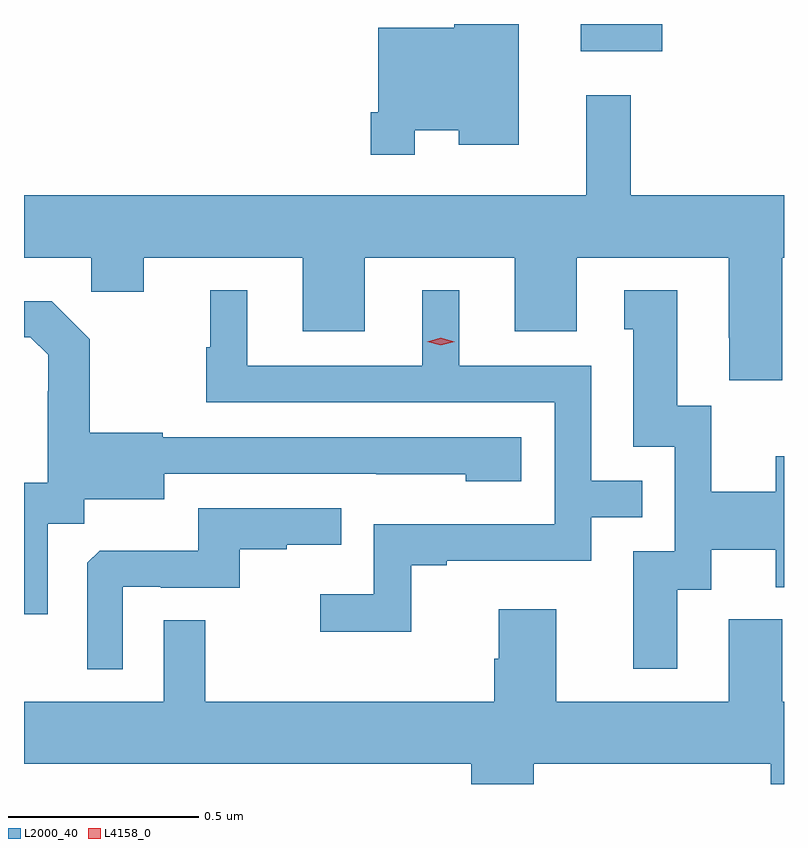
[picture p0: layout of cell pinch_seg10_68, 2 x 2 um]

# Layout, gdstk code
import gdstk
lib = gdstk.Library(unit=1e-6, precision=1e-09)
def R(c, l, rs):  # rectangles x0, y0, x1, y1
    for r in rs: c.add(gdstk.rectangle(r[:2], r[2:], *l))
def P(c, l, *ps):  # polygons
    for p in ps: c.add(gdstk.Polygon(p, *l))
L2000_40 = (2000, 40)
L4158_0 = (4158, 0)

pinch_seg10_68 = lib.new_cell('pinch_seg10_68')
R(pinch_seg10_68, L2000_40, [(835.049,1324.835,835.264,1324.907)])
P(pinch_seg10_68, L2000_40, [(834.612,1324.628),(834.728,1324.628),(834.728,1324.589),(834.886,1324.589),(834.886,1324.907),(834.716,1324.907),(834.716,1324.897),(834.516,1324.897),(834.516,1324.675),(834.496,1324.675),(834.496,1324.563),(834.612,1324.563)],
  [(835.579,1324.292),(835.584,1324.292),(835.584,1324.456),(835.181,1324.456),(835.181,1324.72),(835.064,1324.72),(835.064,1324.456),(833.584,1324.456),(833.584,1324.292),(833.761,1324.292),(833.761,1324.202),(833.899,1324.202),(833.899,1324.292),(834.317,1324.292),(834.317,1324.098),(834.481,1324.098),(834.481,1324.292),(834.875,1324.292),(834.875,1324.098),(835.039,1324.098),(835.039,1324.292),(835.439,1324.292),(835.439,1324.081),(835.44,1324.081),(835.44,1323.969),(835.579,1323.969)],
  [(834.603,1323.483),(834.697,1323.483),(834.697,1323.495),(835.077,1323.495),(835.077,1323.609),(835.211,1323.609),(835.211,1323.705),(835.077,1323.705),(835.077,1324.008),(834.73,1324.008),(834.73,1324.207),(834.632,1324.207),(834.632,1324.008),(834.172,1324.008),(834.172,1324.207),(834.074,1324.207),(834.074,1324.056),(834.063,1324.056),(834.063,1323.912),(834.981,1323.912),(834.981,1323.591),(834.504,1323.591),(834.504,1323.406),(834.363,1323.406),(834.363,1323.308),(834.603,1323.308)],
  [(835.303,1323.418),(835.393,1323.418),(835.393,1323.524),(835.562,1323.524),(835.562,1323.425),(835.584,1323.425),(835.584,1323.769),(835.562,1323.769),(835.562,1323.676),(835.392,1323.676),(835.392,1323.903),(835.303,1323.903),(835.303,1324.207),(835.163,1324.207),(835.163,1324.104),(835.187,1324.104),(835.187,1323.795),(835.296,1323.795),(835.296,1323.519),(835.187,1323.519),(835.187,1323.21),(835.303,1323.21)],
  [(833.647,1323.592),(833.742,1323.592),(833.742,1323.656),(833.953,1323.656),(833.953,1323.723),(834.511,1323.723),(834.511,1323.722),(834.747,1323.722),(834.747,1323.704),(834.892,1323.704),(834.892,1323.819),(833.949,1323.819),(833.949,1323.832),(833.757,1323.832),(833.757,1324.077),(833.657,1324.177),(833.584,1324.177),(833.584,1324.083),(833.601,1324.083),(833.648,1324.036),(833.648,1323.941),(833.646,1323.941),(833.646,1323.7),(833.584,1323.7),(833.584,1323.354),(833.647,1323.354)],
  [(833.844,1323.426),(833.944,1323.426),(833.944,1323.423),(834.152,1323.423),(834.152,1323.525),(834.275,1323.525),(834.275,1323.536),(834.419,1323.536),(834.419,1323.633),(834.042,1323.633),(834.042,1323.521),(833.783,1323.521),(833.751,1323.489),(833.751,1323.209),(833.844,1323.209)],
  [(834.926,1322.96),(835.549,1322.96),(835.549,1322.907),(835.584,1322.907),(835.584,1323.124),(835.579,1323.124),(835.579,1323.34),(835.439,1323.34),(835.439,1323.124),(834.985,1323.124),(834.985,1323.367),(834.833,1323.367),(834.833,1323.237),(834.821,1323.237),(834.821,1323.124),(834.061,1323.124),(834.061,1323.338),(833.952,1323.338),(833.952,1323.124),(833.584,1323.124),(833.584,1322.96),(834.761,1322.96),(834.761,1322.907),(834.926,1322.907)])
P(pinch_seg10_68, L4158_0, [(834.681,1324.061),(834.645,1324.071),(834.645,1324.071),(834.645,1324.071),(834.681,1324.081),(834.717,1324.071),(834.717,1324.071),(834.717,1324.071)])

lib.write_gds('pinch_seg10_68.gds')
